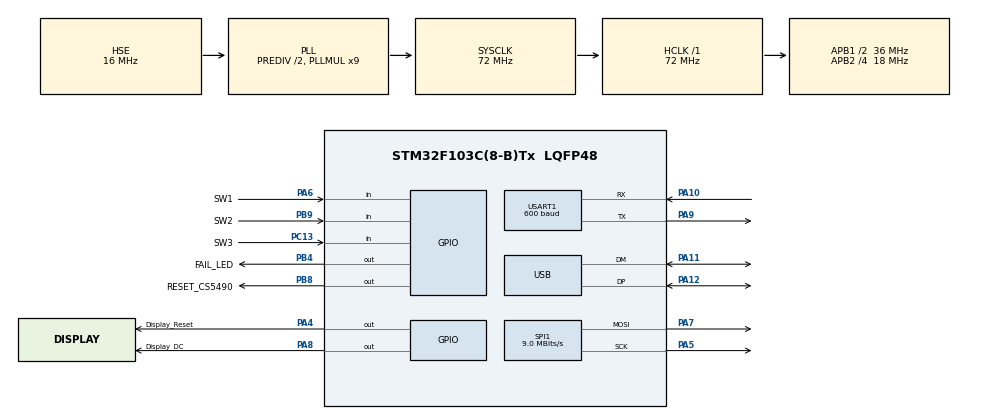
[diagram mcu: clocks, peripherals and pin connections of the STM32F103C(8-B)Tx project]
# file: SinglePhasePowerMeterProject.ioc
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Mcu.Family=STM32F1
Mcu.Name=STM32F103C(8-B)Tx
Mcu.Package=LQFP48
NVIC.PriorityGroup=NVIC_PRIORITYGROUP_4
NVIC.USB_LP_CAN1_RX0_IRQn=true\:0\:0\:false\:false\:true\:false\:true\:true
PA10.Mode=Asynchronous
PA10.Signal=USART1_RX
PA11.Mode=Device
PA11.Signal=USB_DM
PA12.Mode=Device
PA12.Signal=USB_DP
PA13.Mode=Serial_Wire
PA13.Signal=SYS_JTMS-SWDIO
PA14.Mode=Serial_Wire
PA14.Signal=SYS_JTCK-SWCLK
PA4.GPIO_Label=Display_Reset
PA4.Signal=GPIO_Output
PA5.Mode=TX_Only_Simplex_Unidirect_Master
PA5.Signal=SPI1_SCK
PA6.GPIO_Label=SW1
PA6.Signal=GPIO_Input
PA7.Mode=TX_Only_Simplex_Unidirect_Master
PA7.Signal=SPI1_MOSI
PA8.GPIO_Label=Display_DC
PA8.Signal=GPIO_Output
PA9.Mode=Asynchronous
PA9.Signal=USART1_TX
PB4.GPIO_Label=FAIL_LED
PB4.Signal=GPIO_Output
PB8.GPIO_Label=RESET_CS5490
PB8.PinState=GPIO_PIN_SET
PB8.Signal=GPIO_Output
PB9.GPIO_Label=SW2
PB9.Signal=GPIO_Input
PC13-TAMPER-RTC.GPIO_Label=SW3
PC13-TAMPER-RTC.Signal=GPIO_Input
PD0-OSC_IN.Mode=HSE-External-Oscillator
PD0-OSC_IN.Signal=RCC_OSC_IN
PD1-OSC_OUT.Mode=HSE-External-Oscillator
PD1-OSC_OUT.Signal=RCC_OSC_OUT
ProjectManager.HeapSize=0x200
ProjectManager.StackSize=0x400
ProjectManager.TargetToolchain=STM32CubeIDE
RCC.AHBFreq_Value=72000000
RCC.APB1CLKDivider=RCC_HCLK_DIV2
RCC.APB1Freq_Value=36000000
RCC.APB1TimFreq_Value=72000000
RCC.APB2CLKDivider=RCC_HCLK_DIV4
RCC.APB2Freq_Value=18000000
RCC.APB2TimFreq_Value=36000000
RCC.HCLKFreq_Value=72000000
RCC.HSEDivPLL=RCC_HSE_PREDIV_DIV2
RCC.HSE_VALUE=16000000
RCC.PLLMUL=RCC_PLL_MUL9
RCC.PLLSourceVirtual=RCC_PLLSOURCE_HSE
RCC.SYSCLKFreq_VALUE=72000000
RCC.SYSCLKSource=RCC_SYSCLKSOURCE_PLLCLK
RCC.USBFreq_Value=48000000
RCC.USBPrescaler=RCC_USBCLKSOURCE_PLL_DIV1_5
SPI1.BaudRatePrescaler=SPI_BAUDRATEPRESCALER_2
SPI1.CLKPolarity=SPI_POLARITY_HIGH
SPI1.CalculateBaudRate=9.0 MBits/s
SPI1.Direction=SPI_DIRECTION_2LINES
SPI1.Mode=SPI_MODE_MASTER
SPI1.VirtualType=VM_MASTER
USART1.BaudRate=600
USART1.VirtualMode=VM_ASYNC
USB_DEVICE.CLASS_NAME_FS=CDC
USB_DEVICE.VirtualMode=Cdc
USB_DEVICE.VirtualModeFS=Cdc_FS
VP_USB_DEVICE_VS_USB_DEVICE_CDC_FS.Mode=CDC_FS
board=custom

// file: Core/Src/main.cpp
/* USER CODE BEGIN Header */
/**
  ******************************************************************************
  * @file           : main.c
  * @brief          : Main program body
  ******************************************************************************
  * @attention
  *
  * Copyright (c) 2023 STMicroelectronics.
  * All rights reserved.
  *
  * This software is licensed under terms that can be found in the LICENSE file
  * in the root directory of this software component.
  * If no LICENSE file comes with this software, it is provided AS-IS.
  *
  ******************************************************************************
  */
/* USER CODE END Header */
#include "main.h"
#include "spi.h"
#include "usart.h"
#include "usb_device.h"
#include "gpio.h"

/* USER CODE BEGIN Includes */
#include "buttons.h"
#include "state_displays.h"
#include "st7789.h"
#include "menu.h"
#include "string.h"
#include "CS5490.h"
#include "usbd_cdc_if.h"
/* USER CODE END Includes */

/* USER CODE BEGIN PM */
#ifndef min
#define min(a,b) (((a) < (b)) ? (a) : (b))
#endif
/* USER CODE END PM */

/* USER CODE BEGIN PV */
uint32_t cnt = 0;
char outputAppData[100];
CS5490 powerMeter(&huart1);
/* USER CODE END PV */

void SystemClock_Config(void);

/* USER CODE BEGIN 0 */
void MeasurementTask()
{
	powerMeter.ReadMeasurements();
	float *data = powerMeter.GetMeasurements();
	if(strcmp(GetCurrentNode()->name, "MEAS_1") == 0)
	{
		stateMeasurementsP1UpdateDisplay(data[1],data[0],data[2]);

	}
	else if(strcmp(GetCurrentNode()->name, "MEAS_2") == 0)
	{
		stateMeasurementsP2UpdateDisplay(data[3],data[4],data[5]);
	}

	sprintf(outputAppData, "U=%06.2f;I=%05.2f;PF=%06.2f;P=%06.1f;Q=%06.1f;S=%06.1f;\n",min(data[1], 999.99), min(data[0], 99.99),
			min(data[2], 100.00), min(data[3], 9999.9), min(data[4], 9999.9), min(data[5], 9999.9));
	sendOutputData(outputAppData);
}
/* USER CODE END 0 */

int main(void)
{

  /* MCU Configuration--------------------------------------------------------*/

  /* Reset of all peripherals, Initializes the Flash interface and the Systick. */
  HAL_Init();

  /* Configure the system clock */
  SystemClock_Config();

  /* Initialize all configured peripherals */
  MX_GPIO_Init();
  MX_SPI1_Init();
  MX_USB_DEVICE_Init();
  MX_USART1_UART_Init();
  /* USER CODE BEGIN 2 */
  powerMeter.Reset();
  ST7789_Init();
  ButtonsInit();
  MenuInit();
  powerMeter.UART_SetBaudrate();
  powerMeter.SetHPFilter();
  /* USER CODE END 2 */

  /* Infinite loop */
  /* USER CODE BEGIN WHILE */
  while (1)
  {

	  if(cnt == 500)
	  	  {
	  		  MeasurementTask();
	  		  cnt = 0;
	  	  }
	  	  CheckButtons();
	  	  HAL_Delay(1);
	  	  cnt++;

    /* USER CODE END WHILE */

  }
}

void SystemClock_Config(void)
{
  RCC_OscInitTypeDef RCC_OscInitStruct = {0};
  RCC_ClkInitTypeDef RCC_ClkInitStruct = {0};
  RCC_PeriphCLKInitTypeDef PeriphClkInit = {0};

  /** Initializes the RCC Oscillators according to the specified parameters
  * in the RCC_OscInitTypeDef structure.
  */
  RCC_OscInitStruct.OscillatorType = RCC_OSCILLATORTYPE_HSE;
  RCC_OscInitStruct.HSEState = RCC_HSE_ON;
  RCC_OscInitStruct.HSEPredivValue = RCC_HSE_PREDIV_DIV2;
  RCC_OscInitStruct.HSIState = RCC_HSI_ON;
  RCC_OscInitStruct.PLL.PLLState = RCC_PLL_ON;
  RCC_OscInitStruct.PLL.PLLSource = RCC_PLLSOURCE_HSE;
  RCC_OscInitStruct.PLL.PLLMUL = RCC_PLL_MUL9;
  if (HAL_RCC_OscConfig(&RCC_OscInitStruct) != HAL_OK)
  {
    Error_Handler();
  }

  /** Initializes the CPU, AHB and APB buses clocks
  */
  RCC_ClkInitStruct.ClockType = RCC_CLOCKTYPE_HCLK|RCC_CLOCKTYPE_SYSCLK
                              |RCC_CLOCKTYPE_PCLK1|RCC_CLOCKTYPE_PCLK2;
  RCC_ClkInitStruct.SYSCLKSource = RCC_SYSCLKSOURCE_PLLCLK;
  RCC_ClkInitStruct.AHBCLKDivider = RCC_SYSCLK_DIV1;
  RCC_ClkInitStruct.APB1CLKDivider = RCC_HCLK_DIV2;
  RCC_ClkInitStruct.APB2CLKDivider = RCC_HCLK_DIV4;

  if (HAL_RCC_ClockConfig(&RCC_ClkInitStruct, FLASH_LATENCY_2) != HAL_OK)
  {
    Error_Handler();
  }
  PeriphClkInit.PeriphClockSelection = RCC_PERIPHCLK_USB;
  PeriphClkInit.UsbClockSelection = RCC_USBCLKSOURCE_PLL_DIV1_5;
  if (HAL_RCCEx_PeriphCLKConfig(&PeriphClkInit) != HAL_OK)
  {
    Error_Handler();
  }
}

void Error_Handler(void)
{
  __disable_irq();
  while (1)
  {
  }
}
